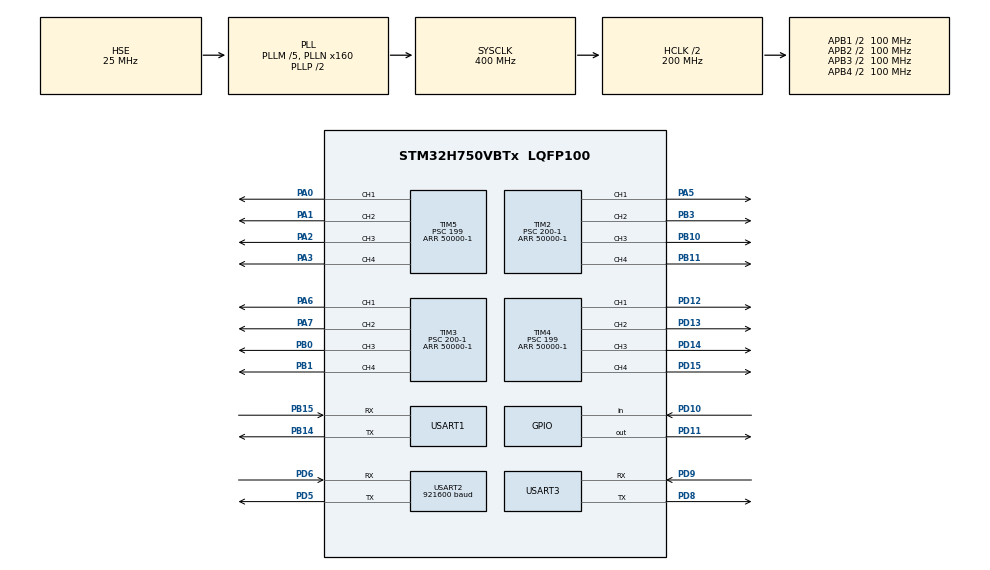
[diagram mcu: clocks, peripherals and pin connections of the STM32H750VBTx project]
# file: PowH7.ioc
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CORTEX_M7.CPU_DCache=Disabled
CORTEX_M7.CPU_ICache=Enabled
Dma.Request0=USART1_RX
Dma.Request1=USART2_RX
Dma.Request2=USART3_RX
Dma.Request3=USART3_TX
Dma.Request4=USART1_TX
Dma.USART1_RX.0.Direction=DMA_PERIPH_TO_MEMORY
Dma.USART1_RX.0.EventEnable=DISABLE
Dma.USART1_RX.0.FIFOMode=DMA_FIFOMODE_DISABLE
Dma.USART1_RX.0.Instance=DMA1_Stream4
Dma.USART1_RX.0.MemDataAlignment=DMA_MDATAALIGN_BYTE
Dma.USART1_RX.0.MemInc=DMA_MINC_ENABLE
Dma.USART1_RX.0.Mode=DMA_NORMAL
Dma.USART1_RX.0.PeriphDataAlignment=DMA_PDATAALIGN_BYTE
Dma.USART1_RX.0.PeriphInc=DMA_PINC_DISABLE
Dma.USART1_RX.0.Polarity=HAL_DMAMUX_REQ_GEN_RISING
Dma.USART1_RX.0.Priority=DMA_PRIORITY_LOW
Dma.USART1_RX.0.RequestNumber=1
Dma.USART1_RX.0.SignalID=NONE
Dma.USART1_RX.0.SyncEnable=DISABLE
Dma.USART1_RX.0.SyncPolarity=HAL_DMAMUX_SYNC_NO_EVENT
Dma.USART1_RX.0.SyncRequestNumber=1
Dma.USART1_RX.0.SyncSignalID=NONE
Dma.USART1_TX.4.Direction=DMA_MEMORY_TO_PERIPH
Dma.USART1_TX.4.EventEnable=DISABLE
Dma.USART1_TX.4.FIFOMode=DMA_FIFOMODE_DISABLE
Dma.USART1_TX.4.Instance=DMA1_Stream5
Dma.USART1_TX.4.MemDataAlignment=DMA_MDATAALIGN_BYTE
Dma.USART1_TX.4.MemInc=DMA_MINC_ENABLE
Dma.USART1_TX.4.Mode=DMA_NORMAL
Dma.USART1_TX.4.PeriphDataAlignment=DMA_PDATAALIGN_BYTE
Dma.USART1_TX.4.PeriphInc=DMA_PINC_DISABLE
Dma.USART1_TX.4.Polarity=HAL_DMAMUX_REQ_GEN_RISING
Dma.USART1_TX.4.Priority=DMA_PRIORITY_LOW
Dma.USART1_TX.4.RequestNumber=1
Dma.USART1_TX.4.SignalID=NONE
Dma.USART1_TX.4.SyncEnable=DISABLE
Dma.USART1_TX.4.SyncPolarity=HAL_DMAMUX_SYNC_NO_EVENT
Dma.USART1_TX.4.SyncRequestNumber=1
Dma.USART1_TX.4.SyncSignalID=NONE
Dma.USART2_RX.1.Direction=DMA_PERIPH_TO_MEMORY
Dma.USART2_RX.1.EventEnable=DISABLE
Dma.USART2_RX.1.FIFOMode=DMA_FIFOMODE_DISABLE
Dma.USART2_RX.1.Instance=DMA1_Stream2
Dma.USART2_RX.1.MemDataAlignment=DMA_MDATAALIGN_BYTE
Dma.USART2_RX.1.MemInc=DMA_MINC_ENABLE
Dma.USART2_RX.1.Mode=DMA_NORMAL
Dma.USART2_RX.1.PeriphDataAlignment=DMA_PDATAALIGN_BYTE
Dma.USART2_RX.1.PeriphInc=DMA_PINC_DISABLE
Dma.USART2_RX.1.Polarity=HAL_DMAMUX_REQ_GEN_RISING
Dma.USART2_RX.1.Priority=DMA_PRIORITY_LOW
Dma.USART2_RX.1.RequestNumber=1
Dma.USART2_RX.1.SignalID=NONE
Dma.USART2_RX.1.SyncEnable=DISABLE
Dma.USART2_RX.1.SyncPolarity=HAL_DMAMUX_SYNC_NO_EVENT
Dma.USART2_RX.1.SyncRequestNumber=1
Dma.USART2_RX.1.SyncSignalID=NONE
Dma.USART3_RX.2.Direction=DMA_PERIPH_TO_MEMORY
Dma.USART3_RX.2.EventEnable=DISABLE
Dma.USART3_RX.2.FIFOMode=DMA_FIFOMODE_DISABLE
Dma.USART3_RX.2.Instance=DMA1_Stream0
Dma.USART3_RX.2.MemDataAlignment=DMA_MDATAALIGN_BYTE
Dma.USART3_RX.2.MemInc=DMA_MINC_ENABLE
Dma.USART3_RX.2.Mode=DMA_NORMAL
Dma.USART3_RX.2.PeriphDataAlignment=DMA_PDATAALIGN_BYTE
Dma.USART3_RX.2.PeriphInc=DMA_PINC_DISABLE
Dma.USART3_RX.2.Polarity=HAL_DMAMUX_REQ_GEN_RISING
Dma.USART3_RX.2.Priority=DMA_PRIORITY_LOW
Dma.USART3_RX.2.RequestNumber=1
Dma.USART3_RX.2.SignalID=NONE
Dma.USART3_RX.2.SyncEnable=DISABLE
Dma.USART3_RX.2.SyncPolarity=HAL_DMAMUX_SYNC_NO_EVENT
Dma.USART3_RX.2.SyncRequestNumber=1
Dma.USART3_RX.2.SyncSignalID=NONE
Dma.USART3_TX.3.Direction=DMA_MEMORY_TO_PERIPH
Dma.USART3_TX.3.EventEnable=DISABLE
Dma.USART3_TX.3.FIFOMode=DMA_FIFOMODE_DISABLE
Dma.USART3_TX.3.Instance=DMA1_Stream1
Dma.USART3_TX.3.MemDataAlignment=DMA_MDATAALIGN_BYTE
Dma.USART3_TX.3.MemInc=DMA_MINC_ENABLE
Dma.USART3_TX.3.Mode=DMA_NORMAL
Dma.USART3_TX.3.PeriphDataAlignment=DMA_PDATAALIGN_BYTE
Dma.USART3_TX.3.PeriphInc=DMA_PINC_DISABLE
Dma.USART3_TX.3.Polarity=HAL_DMAMUX_REQ_GEN_RISING
Dma.USART3_TX.3.Priority=DMA_PRIORITY_LOW
Dma.USART3_TX.3.RequestNumber=1
Dma.USART3_TX.3.SignalID=NONE
Dma.USART3_TX.3.SyncEnable=DISABLE
Dma.USART3_TX.3.SyncPolarity=HAL_DMAMUX_SYNC_NO_EVENT
Dma.USART3_TX.3.SyncRequestNumber=1
Dma.USART3_TX.3.SyncSignalID=NONE
FREERTOS.Tasks01=InitialTask,3,512,InitialTaskF,Default,NULL,Dynamic,NULL,NULL;SensorTask,0,512,SensorTaskF,Default,NULL,Dynamic,NULL,NULL;UpTask,0,512,UpTaskF,Default,NULL,Dynamic,NULL,NULL;CtrlTask,0,512,CtrlTaskF,Default,NULL,Dynamic,NULL,NULL;EmptyTask,-3,512,EmptyTaskF,Default,NULL,Dynamic,NULL,NULL
FREERTOS.configENABLE_FPU=1
IWDG1.Reload=2047
IWDG1.Window=2047
Mcu.Family=STM32H7
Mcu.Name=STM32H750VBTx
Mcu.Package=LQFP100
NVIC.DMA1_Stream0_IRQn=true\:6\:0\:true\:false\:true\:true\:false\:true
NVIC.DMA1_Stream1_IRQn=true\:6\:0\:true\:false\:true\:true\:false\:true
NVIC.DMA1_Stream2_IRQn=true\:6\:0\:true\:false\:true\:true\:false\:true
NVIC.DMA1_Stream4_IRQn=true\:6\:0\:true\:false\:true\:true\:false\:true
NVIC.DMA1_Stream5_IRQn=true\:6\:0\:true\:false\:true\:false\:false\:true
NVIC.PriorityGroup=NVIC_PRIORITYGROUP_4
NVIC.TIM6_DAC_IRQn=true\:0\:0\:false\:false\:true\:false\:false\:true
NVIC.TimeBase=TIM6_DAC_IRQn
NVIC.TimeBaseIP=TIM6
NVIC.USART1_IRQn=true\:6\:0\:true\:false\:true\:true\:true\:true
NVIC.USART2_IRQn=true\:6\:0\:true\:false\:true\:true\:true\:true
NVIC.USART3_IRQn=true\:6\:0\:true\:false\:true\:true\:true\:true
PA0.Signal=S_TIM5_CH1
PA1.Signal=S_TIM5_CH2
PA13\ (JTMS/SWDIO).Mode=Serial_Wire
PA13\ (JTMS/SWDIO).Signal=DEBUG_JTMS-SWDIO
PA14\ (JTCK/SWCLK).Mode=Serial_Wire
PA14\ (JTCK/SWCLK).Signal=DEBUG_JTCK-SWCLK
PA2.Signal=S_TIM5_CH3
PA3.Signal=S_TIM5_CH4
PA5.Signal=S_TIM2_CH1
PA6.Signal=S_TIM3_CH1
PA7.Signal=S_TIM3_CH2
PB0.Signal=S_TIM3_CH3
PB1.Signal=S_TIM3_CH4
PB10.Signal=S_TIM2_CH3
PB11.Signal=S_TIM2_CH4
PB14.GPIO_PuPd=GPIO_PULLUP
PB14.GPIO_Speed=GPIO_SPEED_FREQ_LOW
PB14.Mode=Asynchronous
PB14.Signal=USART1_TX
PB15.GPIO_PuPd=GPIO_PULLUP
PB15.GPIO_Speed=GPIO_SPEED_FREQ_LOW
PB15.Mode=Asynchronous
PB15.Signal=USART1_RX
PB3\ (JTDO/TRACESWO).Signal=S_TIM2_CH2
PC14-OSC32_IN\ (OSC32_IN).Mode=LSE-External-Oscillator
PC14-OSC32_IN\ (OSC32_IN).Signal=RCC_OSC32_IN
PC15-OSC32_OUT\ (OSC32_OUT).Mode=LSE-External-Oscillator
PC15-OSC32_OUT\ (OSC32_OUT).Signal=RCC_OSC32_OUT
PD10.Signal=GPIO_Input
PD11.Signal=GPIO_Output
PD12.Signal=S_TIM4_CH1
PD13.Signal=S_TIM4_CH2
PD14.Signal=S_TIM4_CH3
PD15.Signal=S_TIM4_CH4
PD5.GPIO_PuPd=GPIO_PULLUP
PD5.GPIO_Speed=GPIO_SPEED_FREQ_LOW
PD5.Mode=Asynchronous
PD5.Signal=USART2_TX
PD6.GPIO_PuPd=GPIO_PULLUP
PD6.GPIO_Speed=GPIO_SPEED_FREQ_LOW
PD6.Mode=Asynchronous
PD6.Signal=USART2_RX
PD8.GPIO_PuPd=GPIO_PULLUP
PD8.GPIO_Speed=GPIO_SPEED_FREQ_LOW
PD8.Mode=Asynchronous
PD8.Signal=USART3_TX
PD9.GPIO_PuPd=GPIO_PULLUP
PD9.GPIO_Speed=GPIO_SPEED_FREQ_LOW
PD9.Mode=Asynchronous
PD9.Signal=USART3_RX
PH0-OSC_IN\ (PH0).Mode=HSE-External-Oscillator
PH0-OSC_IN\ (PH0).Signal=RCC_OSC_IN
PH1-OSC_OUT\ (PH1).Mode=HSE-External-Oscillator
PH1-OSC_OUT\ (PH1).Signal=RCC_OSC_OUT
ProjectManager.HeapSize=0x200
ProjectManager.StackSize=0x400
ProjectManager.TargetToolchain=MDK-ARM V5.27
RCC.ADCFreq_Value=69140625
RCC.APB1Freq_Value=100000000
RCC.APB2Freq_Value=100000000
RCC.APB3Freq_Value=100000000
RCC.APB4Freq_Value=100000000
RCC.CortexFreq_Value=400000000
RCC.D1PPRE=RCC_APB3_DIV2
RCC.D2PPRE1=RCC_APB1_DIV2
RCC.D2PPRE2=RCC_APB2_DIV2
RCC.D3PPRE=RCC_APB4_DIV2
RCC.DIVM1=5
RCC.DIVM3=25
RCC.DIVN1=160
RCC.DIVN2=177
RCC.DIVN3=192
RCC.HCLKFreq_Value=200000000
RCC.HPRE=RCC_HCLK_DIV2
RCC.PLL2FRACN=0
RCC.PLL3FRACN=0
RCC.PLLFRACN=0
RCC.PLLSourceVirtual=RCC_PLLSOURCE_HSE
RCC.SYSCLKFreq_VALUE=400000000
RCC.SYSCLKSource=RCC_SYSCLKSOURCE_PLLCLK
RCC.USART16CLockSelection=RCC_USART16CLKSOURCE_PLL3
RCC.USART234578CLockSelection=RCC_USART234578CLKSOURCE_PLL3
RCC.USBFreq_Value=400000000
SH.S_TIM2_CH1.0=TIM2_CH1,PWM Generation1 CH1
SH.S_TIM2_CH2.0=TIM2_CH2,PWM Generation2 CH2
SH.S_TIM2_CH3.0=TIM2_CH3,PWM Generation3 CH3
SH.S_TIM2_CH4.0=TIM2_CH4,PWM Generation4 CH4
SH.S_TIM3_CH1.0=TIM3_CH1,PWM Generation1 CH1
SH.S_TIM3_CH2.0=TIM3_CH2,PWM Generation2 CH2
SH.S_TIM3_CH3.0=TIM3_CH3,PWM Generation3 CH3
SH.S_TIM3_CH4.0=TIM3_CH4,PWM Generation4 CH4
SH.S_TIM4_CH1.0=TIM4_CH1,PWM Generation1 CH1
SH.S_TIM4_CH2.0=TIM4_CH2,PWM Generation2 CH2
SH.S_TIM4_CH3.0=TIM4_CH3,PWM Generation3 CH3
SH.S_TIM4_CH4.0=TIM4_CH4,PWM Generation4 CH4
SH.S_TIM5_CH1.0=TIM5_CH1,PWM Generation1 CH1
SH.S_TIM5_CH2.0=TIM5_CH2,PWM Generation2 CH2
SH.S_TIM5_CH3.0=TIM5_CH3,PWM Generation3 CH3
SH.S_TIM5_CH4.0=TIM5_CH4,PWM Generation4 CH4
TIM2.Channel-PWM\ Generation1\ CH1=TIM_CHANNEL_1
TIM2.Channel-PWM\ Generation2\ CH2=TIM_CHANNEL_2
TIM2.Channel-PWM\ Generation3\ CH3=TIM_CHANNEL_3
TIM2.Channel-PWM\ Generation4\ CH4=TIM_CHANNEL_4
TIM2.Period=50000-1
TIM2.Prescaler=200-1
TIM2.Pulse-PWM\ Generation1\ CH1=1500
TIM2.Pulse-PWM\ Generation2\ CH2=1500
TIM2.Pulse-PWM\ Generation3\ CH3=1500
TIM2.Pulse-PWM\ Generation4\ CH4=1500
TIM3.Channel-PWM\ Generation1\ CH1=TIM_CHANNEL_1
TIM3.Channel-PWM\ Generation2\ CH2=TIM_CHANNEL_2
TIM3.Channel-PWM\ Generation3\ CH3=TIM_CHANNEL_3
TIM3.Channel-PWM\ Generation4\ CH4=TIM_CHANNEL_4
TIM3.Period=50000-1
TIM3.Prescaler=200-1
TIM3.Pulse-PWM\ Generation1\ CH1=1500
TIM3.Pulse-PWM\ Generation2\ CH2=1500
TIM3.Pulse-PWM\ Generation3\ CH3=1500
TIM3.Pulse-PWM\ Generation4\ CH4=1500
TIM4.Channel-PWM\ Generation1\ CH1=TIM_CHANNEL_1
TIM4.Channel-PWM\ Generation2\ CH2=TIM_CHANNEL_2
TIM4.Channel-PWM\ Generation3\ CH3=TIM_CHANNEL_3
TIM4.Channel-PWM\ Generation4\ CH4=TIM_CHANNEL_4
TIM4.Period=50000-1
TIM4.Prescaler=199
TIM4.Pulse-PWM\ Generation1\ CH1=1500
TIM4.Pulse-PWM\ Generation2\ CH2=1500
TIM4.Pulse-PWM\ Generation3\ CH3=1500
TIM4.Pulse-PWM\ Generation4\ CH4=1500
TIM5.Channel-PWM\ Generation1\ CH1=TIM_CHANNEL_1
TIM5.Channel-PWM\ Generation2\ CH2=TIM_CHANNEL_2
TIM5.Channel-PWM\ Generation3\ CH3=TIM_CHANNEL_3
TIM5.Channel-PWM\ Generation4\ CH4=TIM_CHANNEL_4
TIM5.Period=50000-1
TIM5.Prescaler=199
TIM5.Pulse-PWM\ Generation1\ CH1=1500
TIM5.Pulse-PWM\ Generation2\ CH2=1500
TIM5.Pulse-PWM\ Generation3\ CH3=1500
TIM5.Pulse-PWM\ Generation4\ CH4=1500
USART1.VirtualMode-Asynchronous=VM_ASYNC
USART2.BaudRate=921600
USART2.VirtualMode-Asynchronous=VM_ASYNC
USART3.VirtualMode-Asynchronous=VM_ASYNC
VP_FREERTOS_VS_CMSIS_V1.Mode=CMSIS_V1
VP_IWDG1_VS_IWDG.Mode=IWDG_Activate
VP_SYS_VS_tim6.Mode=TIM6
VP_TIM2_VS_ClockSourceINT.Mode=Internal
VP_TIM3_VS_ClockSourceINT.Mode=Internal
VP_TIM4_VS_ClockSourceINT.Mode=Internal
VP_TIM5_VS_ClockSourceINT.Mode=Internal
board=custom

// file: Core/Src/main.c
/* USER CODE BEGIN Header */
/**
 ******************************************************************************
 * @file           : main.c
 * @brief          : Main program body
 ******************************************************************************
 * @attention
 *
 * <h2><center>&copy; Copyright (c) 2021 STMicroelectronics.
 * All rights reserved.</center></h2>
 *
 * This software component is licensed by ST under Ultimate Liberty license
 * SLA0044, the "License"; You may not use this file except in compliance with
 * the License. You may obtain a copy of the License at:
 *                             www.st.com/SLA0044
 *
 ******************************************************************************
 */
/* USER CODE END Header */
#include "main.h"
#include "cmsis_os.h"

/* USER CODE BEGIN Includes */
//#include "Setting.h"
#include "Sensor.h"
#include "BasicCtrl.h"

#include <stdio.h>
#include <stdlib.h>
#include <string.h>
/* USER CODE END Includes */

/* USER CODE BEGIN PM */

//上传传感器仓位标志位
/* 0 控制
 * 1 电源
 * 2 控水
 * 4 电水
 * */
u8 SensorCabin = 0;

//上位仓接收完毕标志位
volatile u8 UpSideFinish = 0;
//传感器读取完成标志位
volatile u8 WT931Finish = 0;
volatile u8 GY39Finish = 0;

//上位仓缓存读写标志位
volatile u8 UpIO = 0;
//传感器缓存读写标志位
volatile u8 WT931IO = 0;
volatile u8 GY39IO = 0;

//上位仓接收缓存
u8 UpCache[UART3RXLen];
//传感器数据缓存
u8 WaterDetect = 0; //漏水检测标志位

u16 AccelerationCache[3] =
{ 0 }; //加速度值缓存
u16 RotSpeedCache[3] =
{ 0 }; //角度值缓存
u16 EulerAngleCache[3] =
{ 0 }; //角度值缓存
u16 MagnetisCache[3] =
{ 0 }; //磁场值缓存

u16 TemCache = 0; //温度值缓存
u16 BaroCache[2] =
{ 0 }; //大气压值缓存
u16 HumCache = 0; //湿度值缓存
//本仓没有水深水温传感传感器

//传感器数据长度
volatile u8 WT931Len = 0;
//int rx_len;
volatile u8 GY39Len = 0;
//作业起始标志
volatile u8 DoingEnable = 0;

//串口收发缓存
u8 UART1RXCache[UART1RXLen]; //温湿度大气压传感器数据串口缓存
u8 UART1TXCache[UART1TXLen] = {0xA5, 0x83, 0x28}; //温湿度大气压传感器指令串口缓存
//u8 UART1TXCache[UART1TXLen]; //温湿度大气压传感器指令串口缓存
u8 UART2RXCache[UART2RXLen]; //九轴传感器数据串口缓存
u8 UART3RXCache[UART3RXLen]; //下传指令串口缓存
u8 UART3TXCache[UART3TXLen]; //上传数据串口缓存

//PWM端口定向指针
//推进器PWM
volatile uint32_t *ThrusterPWM[6] =
{ &TIM4->CCR1, &TIM4->CCR3, &TIM4->CCR2, &TIM4->CCR4, &TIM2->CCR4, &TIM2->CCR3 };
//机械臂PWM
volatile uint32_t *ArmPWM[6] =
{ &TIM5->CCR4, &TIM5->CCR3, &TIM5->CCR2, &TIM3->CCR1, &TIM3->CCR4, &TIM3->CCR3 };
//灯光PWM
volatile uint32_t *LightPWM = &TIM2->CCR2;
//云台PWM
volatile uint32_t *THPWM = &TIM2->CCR1;
//传送带PWM
volatile uint32_t *TranspPWM = &TIM5->CCR1;
//保留PWM
volatile uint32_t *ReservePWM = &TIM3->CCR2;

/* USER CODE END PM */

IWDG_HandleTypeDef hiwdg1;

TIM_HandleTypeDef htim2;
TIM_HandleTypeDef htim3;
TIM_HandleTypeDef htim4;
TIM_HandleTypeDef htim5;

UART_HandleTypeDef huart1;
UART_HandleTypeDef huart2;
UART_HandleTypeDef huart3;
DMA_HandleTypeDef hdma_usart1_rx;
DMA_HandleTypeDef hdma_usart1_tx;
DMA_HandleTypeDef hdma_usart2_rx;
DMA_HandleTypeDef hdma_usart3_rx;
DMA_HandleTypeDef hdma_usart3_tx;

osThreadId InitialTaskHandle;
osThreadId SensorTaskHandle;
osThreadId UpTaskHandle;
osThreadId CtrlTaskHandle;
osThreadId EmptyTaskHandle;

void SystemClock_Config(void);
void PeriphCommonClock_Config(void);
static void MX_GPIO_Init(void);
static void MX_DMA_Init(void);
static void MX_TIM2_Init(void);
static void MX_TIM3_Init(void);
static void MX_TIM4_Init(void);
static void MX_TIM5_Init(void);
static void MX_USART1_UART_Init(void);
static void MX_USART2_UART_Init(void);
static void MX_USART3_UART_Init(void);
static void MX_IWDG1_Init(void);
void InitialTaskF(void const * argument);
void SensorTaskF(void const * argument);
void UpTaskF(void const * argument);
void CtrlTaskF(void const * argument);
void EmptyTaskF(void const * argument);

/* USER CODE BEGIN 0 */

//串口接收完成回调函数
/*
void HAL_UART_RxCpltCallback(UART_HandleTypeDef *huart)
{
	if (huart->Instance == USART1)
	{
		HAL_UART_Receive_IT(&huart1, UART1RXCache, GY39Len);
	}
	else if (huart->Instance == USART2)
	{
		HAL_UART_Receive_IT(&huart2, UART2RXCache, WT931Len);
	}
	else if (huart->Instance == USART3)
	{
		HAL_UART_Receive_IT(&huart3, UART3RXCache, UART3RXLen);
	}
}
*/

#ifdef ROV_DEBUG
//printf重定向
int fputc(int ch, FILE *f)
{
	uint32_t temp = ch;
	HAL_UART_Transmit_DMA(&huart3, (uint8_t*) &temp, 1);
	osDelay(2);
	return ch;
}

/*

//串口发送完成回调函数
void HAL_UART_TxCpltCallback(UART_HandleTypeDef *huart)
{
	if (huart == &huart1)
	{

	}
	else if (huart == &huart2)
	{

	}
	else if (huart == &huart3)
	{

	}
}
*/
#endif
/* USER CODE END 0 */

int main(void)
{
  /* USER CODE BEGIN 1 */
#ifdef ROV_DEBUG
	u8 *MachineStart = "Machine Opening\r\n";
#endif
  /* USER CODE END 1 */

  /* Enable I-Cache---------------------------------------------------------*/
  SCB_EnableICache();

  /* Enable D-Cache---------------------------------------------------------*/
  SCB_EnableDCache();

  /* MCU Configuration--------------------------------------------------------*/

  /* Reset of all peripherals, Initializes the Flash interface and the Systick. */
  HAL_Init();

  /* Configure the system clock */
  SystemClock_Config();

/* Configure the peripherals common clocks */
  PeriphCommonClock_Config();

  /* Initialize all configured peripherals */
  MX_GPIO_Init();
	MX_DMA_Init();
  MX_TIM2_Init();
  MX_TIM3_Init();
  MX_TIM4_Init();
  MX_TIM5_Init();
  MX_USART1_UART_Init();
  MX_USART2_UART_Init();
  MX_USART3_UART_Init();
  MX_IWDG1_Init();
  /* USER CODE BEGIN 2 */
#ifdef ROV_DEBUG
//发送开机指令
	HAL_UART_Transmit_DMA(&huart3, MachineStart, 17);
#endif
	/* USER CODE END 2 */

  /* Create the thread(s) */
  /* definition and creation of InitialTask */
  osThreadDef(InitialTask, InitialTaskF, osPriorityRealtime, 0, 512);
  InitialTaskHandle = osThreadCreate(osThread(InitialTask), NULL);

  /* definition and creation of SensorTask */
  osThreadDef(SensorTask, SensorTaskF, osPriorityNormal, 0, 512);
  SensorTaskHandle = osThreadCreate(osThread(SensorTask), NULL);

  /* definition and creation of UpTask */
  osThreadDef(UpTask, UpTaskF, osPriorityNormal, 0, 512);
  UpTaskHandle = osThreadCreate(osThread(UpTask), NULL);

  /* definition and creation of CtrlTask */
  osThreadDef(CtrlTask, CtrlTaskF, osPriorityNormal, 0, 512);
  CtrlTaskHandle = osThreadCreate(osThread(CtrlTask), NULL);

  /* definition and creation of EmptyTask */
  osThreadDef(EmptyTask, EmptyTaskF, osPriorityIdle, 0, 512);
  EmptyTaskHandle = osThreadCreate(osThread(EmptyTask), NULL);

  /* Start scheduler */
  osKernelStart();

  /* We should never get here as control is now taken by the scheduler */
  /* Infinite loop */
	while (1)
	{

	}
}

void SystemClock_Config(void)
{
  RCC_OscInitTypeDef RCC_OscInitStruct = {0};
  RCC_ClkInitTypeDef RCC_ClkInitStruct = {0};

  /** Supply configuration update enable
  */
  HAL_PWREx_ConfigSupply(PWR_LDO_SUPPLY);
  /** Configure the main internal regulator output voltage
  */
  __HAL_PWR_VOLTAGESCALING_CONFIG(PWR_REGULATOR_VOLTAGE_SCALE1);

  while(!__HAL_PWR_GET_FLAG(PWR_FLAG_VOSRDY)) {}
  /** Macro to configure the PLL clock source
  */
  __HAL_RCC_PLL_PLLSOURCE_CONFIG(RCC_PLLSOURCE_HSE);
  /** Initializes the RCC Oscillators according to the specified parameters
  * in the RCC_OscInitTypeDef structure.
  */
  RCC_OscInitStruct.OscillatorType = RCC_OSCILLATORTYPE_LSI|RCC_OSCILLATORTYPE_HSE;
  RCC_OscInitStruct.HSEState = RCC_HSE_ON;
  RCC_OscInitStruct.LSIState = RCC_LSI_ON;
  RCC_OscInitStruct.PLL.PLLState = RCC_PLL_ON;
  RCC_OscInitStruct.PLL.PLLSource = RCC_PLLSOURCE_HSE;
  RCC_OscInitStruct.PLL.PLLM = 5;
  RCC_OscInitStruct.PLL.PLLN = 160;
  RCC_OscInitStruct.PLL.PLLP = 2;
  RCC_OscInitStruct.PLL.PLLQ = 2;
  RCC_OscInitStruct.PLL.PLLR = 2;
  RCC_OscInitStruct.PLL.PLLRGE = RCC_PLL1VCIRANGE_2;
  RCC_OscInitStruct.PLL.PLLVCOSEL = RCC_PLL1VCOWIDE;
  RCC_OscInitStruct.PLL.PLLFRACN = 0;
  if (HAL_RCC_OscConfig(&RCC_OscInitStruct) != HAL_OK)
  {
    Error_Handler();
  }
  /** Initializes the CPU, AHB and APB buses clocks
  */
  RCC_ClkInitStruct.ClockType = RCC_CLOCKTYPE_HCLK|RCC_CLOCKTYPE_SYSCLK
                              |RCC_CLOCKTYPE_PCLK1|RCC_CLOCKTYPE_PCLK2
                              |RCC_CLOCKTYPE_D3PCLK1|RCC_CLOCKTYPE_D1PCLK1;
  RCC_ClkInitStruct.SYSCLKSource = RCC_SYSCLKSOURCE_PLLCLK;
  RCC_ClkInitStruct.SYSCLKDivider = RCC_SYSCLK_DIV1;
  RCC_ClkInitStruct.AHBCLKDivider = RCC_HCLK_DIV2;
  RCC_ClkInitStruct.APB3CLKDivider = RCC_APB3_DIV2;
  RCC_ClkInitStruct.APB1CLKDivider = RCC_APB1_DIV2;
  RCC_ClkInitStruct.APB2CLKDivider = RCC_APB2_DIV2;
  RCC_ClkInitStruct.APB4CLKDivider = RCC_APB4_DIV2;

  if (HAL_RCC_ClockConfig(&RCC_ClkInitStruct, FLASH_LATENCY_2) != HAL_OK)
  {
    Error_Handler();
  }
}

void PeriphCommonClock_Config(void)
{
  RCC_PeriphCLKInitTypeDef PeriphClkInitStruct = {0};

  /** Initializes the peripherals clock
  */
  PeriphClkInitStruct.PeriphClockSelection = RCC_PERIPHCLK_USART1|RCC_PERIPHCLK_USART2
                              |RCC_PERIPHCLK_USART3;
  PeriphClkInitStruct.PLL3.PLL3M = 25;
  PeriphClkInitStruct.PLL3.PLL3N = 192;
  PeriphClkInitStruct.PLL3.PLL3P = 2;
  PeriphClkInitStruct.PLL3.PLL3Q = 2;
  PeriphClkInitStruct.PLL3.PLL3R = 2;
  PeriphClkInitStruct.PLL3.PLL3RGE = RCC_PLL3VCIRANGE_0;
  PeriphClkInitStruct.PLL3.PLL3VCOSEL = RCC_PLL3VCOWIDE;
  PeriphClkInitStruct.PLL3.PLL3FRACN = 0;
  PeriphClkInitStruct.Usart234578ClockSelection = RCC_USART234578CLKSOURCE_PLL3;
  PeriphClkInitStruct.Usart16ClockSelection = RCC_USART16CLKSOURCE_PLL3;
  if (HAL_RCCEx_PeriphCLKConfig(&PeriphClkInitStruct) != HAL_OK)
  {
    Error_Handler();
  }
}

static void MX_IWDG1_Init(void)
{

  hiwdg1.Instance = IWDG1;
  hiwdg1.Init.Prescaler = IWDG_PRESCALER_4;
  hiwdg1.Init.Window = 2047;
  hiwdg1.Init.Reload = 2047;
  if (HAL_IWDG_Init(&hiwdg1) != HAL_OK)
  {
    Error_Handler();
  }

}

static void MX_TIM2_Init(void)
{

  TIM_ClockConfigTypeDef sClockSourceConfig = {0};
  TIM_MasterConfigTypeDef sMasterConfig = {0};
  TIM_OC_InitTypeDef sConfigOC = {0};

  htim2.Instance = TIM2;
  htim2.Init.Prescaler = 200-1;
  htim2.Init.CounterMode = TIM_COUNTERMODE_UP;
  htim2.Init.Period = 50000-1;
  htim2.Init.ClockDivision = TIM_CLOCKDIVISION_DIV1;
  htim2.Init.AutoReloadPreload = TIM_AUTORELOAD_PRELOAD_DISABLE;
  if (HAL_TIM_Base_Init(&htim2) != HAL_OK)
  {
    Error_Handler();
  }
  sClockSourceConfig.ClockSource = TIM_CLOCKSOURCE_INTERNAL;
  if (HAL_TIM_ConfigClockSource(&htim2, &sClockSourceConfig) != HAL_OK)
  {
    Error_Handler();
  }
  if (HAL_TIM_PWM_Init(&htim2) != HAL_OK)
  {
    Error_Handler();
  }
  sMasterConfig.MasterOutputTrigger = TIM_TRGO_RESET;
  sMasterConfig.MasterSlaveMode = TIM_MASTERSLAVEMODE_DISABLE;
  if (HAL_TIMEx_MasterConfigSynchronization(&htim2, &sMasterConfig) != HAL_OK)
  {
    Error_Handler();
  }
  sConfigOC.OCMode = TIM_OCMODE_PWM1;
  sConfigOC.Pulse = 1500;
  sConfigOC.OCPolarity = TIM_OCPOLARITY_HIGH;
  sConfigOC.OCFastMode = TIM_OCFAST_DISABLE;
  if (HAL_TIM_PWM_ConfigChannel(&htim2, &sConfigOC, TIM_CHANNEL_1) != HAL_OK)
  {
    Error_Handler();
  }
  if (HAL_TIM_PWM_ConfigChannel(&htim2, &sConfigOC, TIM_CHANNEL_2) != HAL_OK)
  {
    Error_Handler();
  }
  if (HAL_TIM_PWM_ConfigChannel(&htim2, &sConfigOC, TIM_CHANNEL_3) != HAL_OK)
  {
    Error_Handler();
  }
  if (HAL_TIM_PWM_ConfigChannel(&htim2, &sConfigOC, TIM_CHANNEL_4) != HAL_OK)
  {
    Error_Handler();
  }
  HAL_TIM_MspPostInit(&htim2);

}

static void MX_TIM3_Init(void)
{

  TIM_ClockConfigTypeDef sClockSourceConfig = {0};
  TIM_MasterConfigTypeDef sMasterConfig = {0};
  TIM_OC_InitTypeDef sConfigOC = {0};

  htim3.Instance = TIM3;
  htim3.Init.Prescaler = 200-1;
  htim3.Init.CounterMode = TIM_COUNTERMODE_UP;
  htim3.Init.Period = 50000-1;
  htim3.Init.ClockDivision = TIM_CLOCKDIVISION_DIV1;
  htim3.Init.AutoReloadPreload = TIM_AUTORELOAD_PRELOAD_DISABLE;
  if (HAL_TIM_Base_Init(&htim3) != HAL_OK)
  {
    Error_Handler();
  }
  sClockSourceConfig.ClockSource = TIM_CLOCKSOURCE_INTERNAL;
  if (HAL_TIM_ConfigClockSource(&htim3, &sClockSourceConfig) != HAL_OK)
  {
    Error_Handler();
  }
  if (HAL_TIM_PWM_Init(&htim3) != HAL_OK)
  {
    Error_Handler();
  }
  sMasterConfig.MasterOutputTrigger = TIM_TRGO_RESET;
  sMasterConfig.MasterSlaveMode = TIM_MASTERSLAVEMODE_DISABLE;
  if (HAL_TIMEx_MasterConfigSynchronization(&htim3, &sMasterConfig) != HAL_OK)
  {
    Error_Handler();
  }
  sConfigOC.OCMode = TIM_OCMODE_PWM1;
  sConfigOC.Pulse = 1500;
  sConfigOC.OCPolarity = TIM_OCPOLARITY_HIGH;
  sConfigOC.OCFastMode = TIM_OCFAST_DISABLE;
  if (HAL_TIM_PWM_ConfigChannel(&htim3, &sConfigOC, TIM_CHANNEL_1) != HAL_OK)
  {
    Error_Handler();
  }
  if (HAL_TIM_PWM_ConfigChannel(&htim3, &sConfigOC, TIM_CHANNEL_2) != HAL_OK)
  {
    Error_Handler();
  }
  if (HAL_TIM_PWM_ConfigChannel(&htim3, &sConfigOC, TIM_CHANNEL_3) != HAL_OK)
  {
    Error_Handler();
  }
  if (HAL_TIM_PWM_ConfigChannel(&htim3, &sConfigOC, TIM_CHANNEL_4) != HAL_OK)
  {
    Error_Handler();
  }
  HAL_TIM_MspPostInit(&htim3);

}

static void MX_TIM4_Init(void)
{

  TIM_ClockConfigTypeDef sClockSourceConfig = {0};
  TIM_MasterConfigTypeDef sMasterConfig = {0};
  TIM_OC_InitTypeDef sConfigOC = {0};

  htim4.Instance = TIM4;
  htim4.Init.Prescaler = 199;
  htim4.Init.CounterMode = TIM_COUNTERMODE_UP;
  htim4.Init.Period = 50000-1;
  htim4.Init.ClockDivision = TIM_CLOCKDIVISION_DIV1;
  htim4.Init.AutoReloadPreload = TIM_AUTORELOAD_PRELOAD_DISABLE;
  if (HAL_TIM_Base_Init(&htim4) != HAL_OK)
  {
    Error_Handler();
  }
  sClockSourceConfig.ClockSource = TIM_CLOCKSOURCE_INTERNAL;
  if (HAL_TIM_ConfigClockSource(&htim4, &sClockSourceConfig) != HAL_OK)
  {
    Error_Handler();
  }
  if (HAL_TIM_PWM_Init(&htim4) != HAL_OK)
  {
    Error_Handler();
  }
  sMasterConfig.MasterOutputTrigger = TIM_TRGO_RESET;
  sMasterConfig.MasterSlaveMode = TIM_MASTERSLAVEMODE_DISABLE;
  if (HAL_TIMEx_MasterConfigSynchronization(&htim4, &sMasterConfig) != HAL_OK)
  {
    Error_Handler();
  }
  sConfigOC.OCMode = TIM_OCMODE_PWM1;
  sConfigOC.Pulse = 1500;
  sConfigOC.OCPolarity = TIM_OCPOLARITY_HIGH;
  sConfigOC.OCFastMode = TIM_OCFAST_DISABLE;
  if (HAL_TIM_PWM_ConfigChannel(&htim4, &sConfigOC, TIM_CHANNEL_1) != HAL_OK)
  {
    Error_Handler();
  }
  if (HAL_TIM_PWM_ConfigChannel(&htim4, &sConfigOC, TIM_CHANNEL_2) != HAL_OK)
  {
    Error_Handler();
  }
  if (HAL_TIM_PWM_ConfigChannel(&htim4, &sConfigOC, TIM_CHANNEL_3) != HAL_OK)
  {
    Error_Handler();
  }
  if (HAL_TIM_PWM_ConfigChannel(&htim4, &sConfigOC, TIM_CHANNEL_4) != HAL_OK)
  {
    Error_Handler();
  }
  HAL_TIM_MspPostInit(&htim4);

}

static void MX_TIM5_Init(void)
{

  TIM_ClockConfigTypeDef sClockSourceConfig = {0};
  TIM_MasterConfigTypeDef sMasterConfig = {0};
  TIM_OC_InitTypeDef sConfigOC = {0};

  htim5.Instance = TIM5;
  htim5.Init.Prescaler = 199;
  htim5.Init.CounterMode = TIM_COUNTERMODE_UP;
  htim5.Init.Period = 50000-1;
  htim5.Init.ClockDivision = TIM_CLOCKDIVISION_DIV1;
  htim5.Init.AutoReloadPreload = TIM_AUTORELOAD_PRELOAD_DISABLE;
  if (HAL_TIM_Base_Init(&htim5) != HAL_OK)
  {
    Error_Handler();
  }
  sClockSourceConfig.ClockSource = TIM_CLOCKSOURCE_INTERNAL;
  if (HAL_TIM_ConfigClockSource(&htim5, &sClockSourceConfig) != HAL_OK)
  {
    Error_Handler();
  }
  if (HAL_TIM_PWM_Init(&htim5) != HAL_OK)
  {
    Error_Handler();
  }
  sMasterConfig.MasterOutputTrigger = TIM_TRGO_RESET;
  sMasterConfig.MasterSlaveMode = TIM_MASTERSLAVEMODE_DISABLE;
  if (HAL_TIMEx_MasterConfigSynchronization(&htim5, &sMasterConfig) != HAL_OK)
  {
    Error_Handler();
  }
  sConfigOC.OCMode = TIM_OCMODE_PWM1;
  sConfigOC.Pulse = 1500;
  sConfigOC.OCPolarity = TIM_OCPOLARITY_HIGH;
  sConfigOC.OCFastMode = TIM_OCFAST_DISABLE;
  if (HAL_TIM_PWM_ConfigChannel(&htim5, &sConfigOC, TIM_CHANNEL_1) != HAL_OK)
  {
    Error_Handler();
  }
  if (HAL_TIM_PWM_ConfigChannel(&htim5, &sConfigOC, TIM_CHANNEL_2) != HAL_OK)
  {
    Error_Handler();
  }
  if (HAL_TIM_PWM_ConfigChannel(&htim5, &sConfigOC, TIM_CHANNEL_3) != HAL_OK)
  {
    Error_Handler();
  }
  if (HAL_TIM_PWM_ConfigChannel(&htim5, &sConfigOC, TIM_CHANNEL_4) != HAL_OK)
  {
    Error_Handler();
  }
  HAL_TIM_MspPostInit(&htim5);

}

static void MX_USART1_UART_Init(void)
{

  huart1.Instance = USART1;
  huart1.Init.BaudRate = 115200;
  huart1.Init.WordLength = UART_WORDLENGTH_8B;
  huart1.Init.StopBits = UART_STOPBITS_1;
  huart1.Init.Parity = UART_PARITY_NONE;
  huart1.Init.Mode = UART_MODE_TX_RX;
  huart1.Init.HwFlowCtl = UART_HWCONTROL_NONE;
  huart1.Init.OverSampling = UART_OVERSAMPLING_16;
  huart1.Init.OneBitSampling = UART_ONE_BIT_SAMPLE_DISABLE;
  huart1.Init.ClockPrescaler = UART_PRESCALER_DIV1;
  huart1.AdvancedInit.AdvFeatureInit = UART_ADVFEATURE_NO_INIT;
  if (HAL_UART_Init(&huart1) != HAL_OK)
  {
    Error_Handler();
  }
  if (HAL_UARTEx_SetTxFifoThreshold(&huart1, UART_TXFIFO_THRESHOLD_1_8) != HAL_OK)
  {
    Error_Handler();
  }
  if (HAL_UARTEx_SetRxFifoThreshold(&huart1, UART_RXFIFO_THRESHOLD_1_8) != HAL_OK)
  {
    Error_Handler();
  }
  if (HAL_UARTEx_DisableFifoMode(&huart1) != HAL_OK)
  {
    Error_Handler();
  }
  /* USER CODE BEGIN USART1_Init 2 */
	//__HAL_UART_ENABLE_IT(&huart1, UART_IT_IDLE);
	//HAL_UART_Receive_DMA(&huart1, UART1RXCache, UART1RXLen);
  /* USER CODE END USART1_Init 2 */

}

static void MX_USART2_UART_Init(void)
{

  huart2.Instance = USART2;
  huart2.Init.BaudRate = 921600;
  huart2.Init.WordLength = UART_WORDLENGTH_8B;
  huart2.Init.StopBits = UART_STOPBITS_1;
  huart2.Init.Parity = UART_PARITY_NONE;
  huart2.Init.Mode = UART_MODE_TX_RX;
  huart2.Init.HwFlowCtl = UART_HWCONTROL_NONE;
  huart2.Init.OverSampling = UART_OVERSAMPLING_16;
  huart2.Init.OneBitSampling = UART_ONE_BIT_SAMPLE_DISABLE;
  huart2.Init.ClockPrescaler = UART_PRESCALER_DIV1;
  huart2.AdvancedInit.AdvFeatureInit = UART_ADVFEATURE_NO_INIT;
  if (HAL_UART_Init(&huart2) != HAL_OK)
  {
    Error_Handler();
  }
  if (HAL_UARTEx_SetTxFifoThreshold(&huart2, UART_TXFIFO_THRESHOLD_1_8) != HAL_OK)
  {
    Error_Handler();
  }
  if (HAL_UARTEx_SetRxFifoThreshold(&huart2, UART_RXFIFO_THRESHOLD_1_8) != HAL_OK)
  {
    Error_Handler();
  }
  if (HAL_UARTEx_DisableFifoMode(&huart2) != HAL_OK)
  {
    Error_Handler();
  }
  /* USER CODE BEGIN USART2_Init 2 */
	//__HAL_UART_ENABLE_IT(&huart2, UART_IT_IDLE);
	//HAL_UART_Receive_DMA(&huart2, UART2RXCache, UART2RXLen);
  /* USER CODE END USART2_Init 2 */

}

static void MX_USART3_UART_Init(void)
{

  huart3.Instance = USART3;
  huart3.Init.BaudRate = 115200;
  huart3.Init.WordLength = UART_WORDLENGTH_8B;
  huart3.Init.StopBits = UART_STOPBITS_1;
  huart3.Init.Parity = UART_PARITY_NONE;
  huart3.Init.Mode = UART_MODE_TX_RX;
  huart3.Init.HwFlowCtl = UART_HWCONTROL_NONE;
  huart3.Init.OverSampling = UART_OVERSAMPLING_16;
  huart3.Init.OneBitSampling = UART_ONE_BIT_SAMPLE_DISABLE;
  huart3.Init.ClockPrescaler = UART_PRESCALER_DIV1;
  huart3.AdvancedInit.AdvFeatureInit = UART_ADVFEATURE_NO_INIT;
  if (HAL_UART_Init(&huart3) != HAL_OK)
  {
    Error_Handler();
  }
  if (HAL_UARTEx_SetTxFifoThreshold(&huart3, UART_TXFIFO_THRESHOLD_1_8) != HAL_OK)
  {
    Error_Handler();
  }
  if (HAL_UARTEx_SetRxFifoThreshold(&huart3, UART_RXFIFO_THRESHOLD_1_8) != HAL_OK)
  {
    Error_Handler();
  }
  if (HAL_UARTEx_DisableFifoMode(&huart3) != HAL_OK)
  {
    Error_Handler();
  }
  /* USER CODE BEGIN USART3_Init 2 */
	//__HAL_UART_ENABLE_IT(&huart3, UART_IT_IDLE);
	//HAL_UART_Receive_DMA(&huart3, UART3RXCache, UART3RXLen);
  /* USER CODE END USART3_Init 2 */

}

static void MX_DMA_Init(void)
{

  /* DMA controller clock enable */
  __HAL_RCC_DMA1_CLK_ENABLE();

  /* DMA interrupt init */
  /* DMA1_Stream0_IRQn interrupt configuration */
  HAL_NVIC_SetPriority(DMA1_Stream0_IRQn, 6, 0);
  HAL_NVIC_EnableIRQ(DMA1_Stream0_IRQn);
  /* DMA1_Stream1_IRQn interrupt configuration */
  HAL_NVIC_SetPriority(DMA1_Stream1_IRQn, 6, 0);
  HAL_NVIC_EnableIRQ(DMA1_Stream1_IRQn);
  /* DMA1_Stream2_IRQn interrupt configuration */
  HAL_NVIC_SetPriority(DMA1_Stream2_IRQn, 6, 0);
  HAL_NVIC_EnableIRQ(DMA1_Stream2_IRQn);
  /* DMA1_Stream4_IRQn interrupt configuration */
  HAL_NVIC_SetPriority(DMA1_Stream4_IRQn, 6, 0);
  HAL_NVIC_EnableIRQ(DMA1_Stream4_IRQn);
  /* DMA1_Stream5_IRQn interrupt configuration */
  HAL_NVIC_SetPriority(DMA1_Stream5_IRQn, 6, 0);
  HAL_NVIC_EnableIRQ(DMA1_Stream5_IRQn);

}

static void MX_GPIO_Init(void)
{
  GPIO_InitTypeDef GPIO_InitStruct = {0};

  /* GPIO Ports Clock Enable */
  __HAL_RCC_GPIOC_CLK_ENABLE();
  __HAL_RCC_GPIOH_CLK_ENABLE();
  __HAL_RCC_GPIOA_CLK_ENABLE();
  __HAL_RCC_GPIOB_CLK_ENABLE();
  __HAL_RCC_GPIOD_CLK_ENABLE();

  /*Configure GPIO pin Output Level */
  HAL_GPIO_WritePin(GPIOD, GPIO_PIN_11, GPIO_PIN_RESET);

  /*Configure GPIO pin : PD10 */
  GPIO_InitStruct.Pin = GPIO_PIN_10;
  GPIO_InitStruct.Mode = GPIO_MODE_INPUT;
  GPIO_InitStruct.Pull = GPIO_NOPULL;
  HAL_GPIO_Init(GPIOD, &GPIO_InitStruct);

  /*Configure GPIO pin : PD11 */
  GPIO_InitStruct.Pin = GPIO_PIN_11;
  GPIO_InitStruct.Mode = GPIO_MODE_OUTPUT_PP;
  GPIO_InitStruct.Pull = GPIO_NOPULL;
  GPIO_InitStruct.Speed = GPIO_SPEED_FREQ_LOW;
  HAL_GPIO_Init(GPIOD, &GPIO_InitStruct);

}

void InitialTaskF(void const * argument)
{
  /* USER CODE BEGIN 5 */
	//喂狗
	HAL_IWDG_Refresh(&hiwdg1);
	//挂起要执行的任务
	vTaskSuspend(SensorTaskHandle);
	vTaskSuspend(UpTaskHandle);
	vTaskSuspend(CtrlTaskHandle);
	//继电器闭合
	HAL_GPIO_WritePin(GPIOD, GPIO_PIN_11, GPIO_PIN_SET);

	/* 初始化一大堆PWM */
	HAL_TIM_PWM_Start(&htim2, TIM_CHANNEL_1);
	HAL_TIM_PWM_Start(&htim2, TIM_CHANNEL_2);
	HAL_TIM_PWM_Start(&htim2, TIM_CHANNEL_3);
	HAL_TIM_PWM_Start(&htim2, TIM_CHANNEL_4);
	HAL_TIM_PWM_Start(&htim3, TIM_CHANNEL_1);
	HAL_TIM_PWM_Start(&htim3, TIM_CHANNEL_2);
	HAL_TIM_PWM_Start(&htim3, TIM_CHANNEL_3);
	HAL_TIM_PWM_Start(&htim3, TIM_CHANNEL_4);
	HAL_TIM_PWM_Start(&htim4, TIM_CHANNEL_1);
	HAL_TIM_PWM_Start(&htim4, TIM_CHANNEL_2);
	HAL_TIM_PWM_Start(&htim4, TIM_CHANNEL_3);
	HAL_TIM_PWM_Start(&htim4, TIM_CHANNEL_4);
	HAL_TIM_PWM_Start(&htim5, TIM_CHANNEL_1);
	HAL_TIM_PWM_Start(&htim5, TIM_CHANNEL_2);
	HAL_TIM_PWM_Start(&htim5, TIM_CHANNEL_3);
	HAL_TIM_PWM_Start(&htim5, TIM_CHANNEL_4);

	//HAL_UART_Receive_IT(&huart1, UART1RXCache, UART1RXLen);
	//HAL_UART_Receive_IT(&huart2, UART2RXCache, UART2RXLen);
	//HAL_UART_Receive_IT(&huart3, UART3RXCache, UART3RXLen);

	//HAL_UART_Transmit_DMA(&huart1, UART1TXCache, UART1TXLen);
/* 保存各控制位数据 */
/*
*StraightNum = *PDStraight;
		*RotateNum = *PDRotate;
		*VerticalNum = *PDVertical;
		*LightNum = *PDLight;
		*THNum = *PDTH;
		*TranspNum = *PDTransp;
		*ArmNum[0] = *PDArm[0];
		*ArmNum[1] = *PDArm[1];
		*ArmNum[2] = *PDArm[2];
		*ArmNum[3] = *PDArm[3];
		*ArmNum[4] = *PDArm[4];
		*ArmNum[5] = *PDArm[5];
		*ResPWM = *PDRes;
		*ModeNum = (*PDMode & 7);
		*RelaySW = (*PDMode & 8);

	PDBegin = UpCache; //起始位对准
	*/
	/* 其他各位对齐 */
	/*
	PDStraight = (UpCache + 1);
	PDRotate = (UpCache + 3);
	PDVertical = (UpCache + 5);
	PDLight = (UpCache + 7);
	PDTH = (UpCache + 9);
	PDTransp = (UpCache + 11);
	PDArm[0] = (UpCache + 13);
	PDArm[1] = (UpCache + 15);
	PDArm[2] = (UpCache + 17);
	PDArm[3] = (UpCache + 19);
	PDArm[4] = (UpCache + 21);
	PDArm[5] = (UpCache + 23);
	PDRes = (UpCache + 25);
	PDMode = (UpCache + 27);
	PDId = UpCache + 28;
	PDEnd = UpCache + 29; //结束位对准

	AccelerationCache = (UART1RXCache + 2);
	//PAccPos[1] = (u16*) (UART1RXCache + 4);
	//PAccPos[2] = (u16*) (UART1RXCache + 6);

	//PInsTemPos[0] = (u16*) (UART1RXCache + 8);

	RotSpeedCache = (UART1RXCache + 13);
	//PRotPos[1] = (u16*) (UART1RXCache + 15);
	//PRotPos[2] = (u16*) (UART1RXCache + 17);

	//PInsTemPos[1] = (u16*) (UART1RXCache + 19);

	EulerAngleCache = (UART1RXCache + 24);
	//PEulPos[1] = (u16*) (UART1RXCache + 26);
	//PEulPos[2] = (u16*) (UART1RXCache + 28);

	//PInsTemPos[2] = (u16*) (UART1RXCache + 30);

	MagnetisCache = (UART1RXCache + 35);
	//PMagPos[1] = (u16*) (UART1RXCache + 37);
	//PMagPos[2] = (u16*) (UART1RXCache + 39);

	//PInsTemPos[2] = (u16*) (UART1RXCache + 41);

	TemCache = (UART1RXCache + 13);
	BaroCache = (UART1RXCache + 15);
	HumCache = (UART1RXCache + 19);
*/

	//开启其他任务
	vTaskResume(SensorTaskHandle);
	vTaskResume(UpTaskHandle);
	vTaskResume(CtrlTaskHandle);

	//喂狗
	HAL_IWDG_Refresh(&hiwdg1);

	//挂起初始化任务不再执行
	vTaskSuspend(InitialTaskHandle);
	/* Infinite loop */
	for (;;)
	{
		HAL_IWDG_Refresh(&hiwdg1);
	}
  /* USER CODE END 5 */
}

void SensorTaskF(void const * argument)
{
  /* USER CODE BEGIN SensorTaskF */
	//SendBackPoint(UART3TXCache, NULL, &WT931IO, &GY39IO); //上传指针与标志位定向
	//DownDetectPoint(UpCache); //下传指令缓存指针定向
	//HAL_UART_Receive_DMA(&huart1, UART3RXCache, UART3RXLen); //初始化下传串口

	WT931Point(UART2RXCache); //九轴传感器读取指针定向
	GY39InitStr(UART1TXCache); //温湿度传感器初始化数据发送字符串初始化
	//向温湿度传感器发送初始化指令
	HAL_UART_Transmit_DMA(&huart1, UART1TXCache, UART1TXLen);
	GY39Point(UART1RXCache); //温湿度大气压传感器串口缓存区定向

	/* Infinite loop */
	for (;;)
	{
		WaterDetect = HAL_GPIO_ReadPin(GPIOD, GPIO_PIN_10); //检测是否漏水

		if (WT931Finish == 1) //如果传感器读取完成
		{
			/*
			while(WT931IO == 1) //等待传感器读写
			{
				HAL_IWDG_Refresh(&hiwdg1);
				osDelay(1);
			}
			WT931IO = 1; //正在读写传感器
			*/
			if (WT931Len == 44)
			{
				WT931Take(AccelerationCache, RotSpeedCache, EulerAngleCache, MagnetisCache);
				//HAL_UART_Transmit_DMA(&huart3, UART2RXCache, UART2RXLen);
#ifdef ROV_DEBUG
				HAL_UART_Transmit_DMA(&huart3, UART2RXCache, UART2RXLen);
#endif
			}
			//memset(UART2RXCache, 0, WT931Len);
			WT931Len = 0;
			WT931Finish = 0; //已完成传感器数据取出

			HAL_UART_Receive_DMA(&huart2, UART2RXCache, UART2RXLen); //恢复串口接收
			__HAL_UART_ENABLE_IT(&huart2, UART_IT_IDLE);
			//HAL_UART_Transmit_DMA(&huart3, UART2RXCache, UART2RXLen);

			WT931IO = 0;
		}

		if (GY39Finish == 1) //如果传感器读取完成
		{
			/*
			while (GY39IO == 1)
			{
				HAL_IWDG_Refresh(&hiwdg1);
				osDelay(1);
			}
			GY39IO = 1;
			*/
			if(GY39Len == UART1RXLen)
			{
				GY39Take(&TemCache, BaroCache, &HumCache);
				//HAL_UART_Transmit_DMA(&huart3, UART1RXCache, UART1RXLen);
#ifdef ROV_DEBUG
				HAL_UART_Transmit_DMA(&huart3, UART1RXCache, UART1RXLen);
#endif
			}
			//memset(UART1RXCache, 0, GY39Len);
			GY39Len = 0;
			GY39Finish = 0; //已完成传感器数据取出

			HAL_UART_Receive_DMA(&huart1, UART1RXCache, UART1RXLen); //恢复串口接收
			__HAL_UART_ENABLE_IT(&huart1, UART_IT_IDLE);
			//HAL_UART_Transmit_DMA(&huart3, UART1RXCache, UART3TXLen);

			GY39IO = 0;
		}

		SendBack(WaterDetect, TemCache, BaroCache, HumCache, AccelerationCache,
					RotSpeedCache, EulerAngleCache, MagnetisCache, NULL, NULL);

		//HAL_UART_Transmit_DMA(&huart3, UART3TXCache, UART3TXLen);

		HAL_IWDG_Refresh(&hiwdg1);
		osDelay(1);
	}
  /* USER CODE END SensorTaskF */
}

void UpTaskF(void const * argument)
{
  /* USER CODE BEGIN UpTaskF */

	SendBackPoint(UART3TXCache, NULL, &WT931IO, &GY39IO); //上传指针与标志位定向
	DownDetectPoint(UpCache); //下传指令缓存指针定向
	HAL_UART_Receive_DMA(&huart1, UART3RXCache, UART3RXLen); //初始化下传串口

	/* Infinite loop */

	for (;;)
	{

		while (UpSideFinish == 0) //等待数据下传
		{
			osDelay(1);
		}

		if (IdTest(UART3RXCache, 0)) //下传指令数据校验
		{
			while(UpIO == 1)
			{
				osDelay(1);
			}
			UpIO = 1;

			for (u8 i = 0; i < UART3RXLen; ++i)
			{
				UpCache[i] = UART3RXCache[i];
			}
			//memset(UART3RXCache, 0, UART3RXLen);
			UpIO = 0; //收取结束
			UpSideFinish = 0;
		}
		DoingEnable = 1;

		//上传传感器数据
		SendBack(WaterDetect, TemCache, BaroCache, HumCache, AccelerationCache,
					RotSpeedCache, EulerAngleCache, MagnetisCache, NULL, NULL);

#ifdef ROV_DEBUG
		HAL_UART_Transmit_DMA(&huart3, UART2RXCache, UART2RXLen);
		HAL_UART_Transmit_DMA(&huart3, UART1RXCache, UART1RXLen);
#endif
		HAL_UART_Transmit_DMA(&huart3, UART3TXCache, UART3TXLen);

		__HAL_UART_ENABLE_IT(&huart3, UART_IT_IDLE);
		HAL_UART_Receive_DMA(&huart3, UART3RXCache, UART3RXLen);

		HAL_IWDG_Refresh(&hiwdg1);
		osDelay(1);
	}
  /* USER CODE END UpTaskF */
}

void CtrlTaskF(void const * argument)
{
  /* USER CODE BEGIN CtrlTaskF */

	static u16 RStraightNum = 0;
	static u16 RRotateNum = 0;
	static u16 RVerticalNum = 0;
	static u8 RMode = 0;
	static u8 RRelay = 0;

	while (DoingEnable == 0) //等待允许作业的指令
	{
		HAL_IWDG_Refresh(&hiwdg1);
		osDelay(1);
	}

	/* Infinite loop */
	for (;;)
	{
		while (UpIO == 1) //不打扰上传或收取数据
		{
			HAL_IWDG_Refresh(&hiwdg1);
			osDelay(1);
		}
		UpIO = 1;
		/* 接收并处理解析数据 */
		DownDetectReceive(&RStraightNum, &RRotateNum, &RVerticalNum, LightPWM,
							THPWM, TranspPWM, ArmPWM, ReservePWM, &RMode, &RRelay);

		//根据指令控制继电器
		HAL_GPIO_WritePin(GPIOD, GPIO_PIN_11, RRelay);

		//根据指令控制PWM操作推进器来处理机器人运动
		MoveControl(RStraightNum, RRotateNum, RVerticalNum, RMode, ThrusterPWM);

		HAL_IWDG_Refresh(&hiwdg1);
		//osDelay(1);
	}
  /* USER CODE END CtrlTaskF */
}

void EmptyTaskF(void const * argument)
{
  /* USER CODE BEGIN EmptyTaskF */
	/* Infinite loop */
	for (;;)
	{
		HAL_IWDG_Refresh(&hiwdg1); //喂狗
		osDelay(1);
	}
  /* USER CODE END EmptyTaskF */
}

 /**
  * @brief  Period elapsed callback in non blocking mode
  * @note   This function is called  when TIM6 interrupt took place, inside
  * HAL_TIM_IRQHandler(). It makes a direct call to HAL_IncTick() to increment
  * a global variable "uwTick" used as application time base.
  * @param  htim : TIM handle
  * @retval None
  */
void HAL_TIM_PeriodElapsedCallback(TIM_HandleTypeDef *htim)
{
  if (htim->Instance == TIM6) {
    HAL_IncTick();
  }
}

void Error_Handler(void)
{
	__disable_irq();
	while (1)
	{
	}
}

/************************ (C) COPYRIGHT STMicroelectronics *****END OF FILE****/
